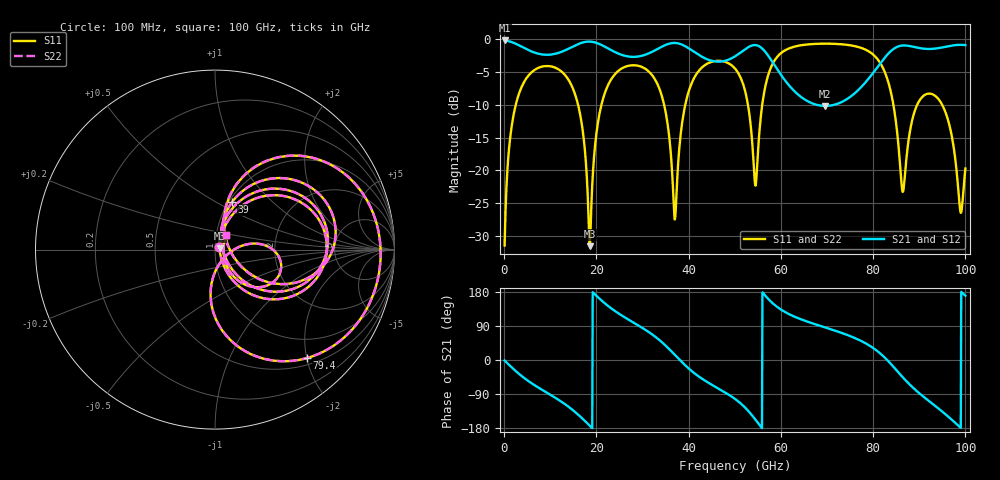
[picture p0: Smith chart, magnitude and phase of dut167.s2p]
! Touchstone file exported from HFSS 2026.1.0
!  File:  C:/ffzhzh/LocalFiles/Ansys_Project_Files/temp_train_TSV_RDL_167_1783649957_33328.aedt
!  Generated:  10:32:22 AM Jul 10, 2026
!  Design:  TSV_RDL
!  Project:  temp_train_TSV_RDL_167_1783649957_33328
! Variables:
!  h_bsmrdl = 3.04um
!  h_ox = 20um
!  h_rdl = 5um
!  h_sub = 53.69um
!  h_tmrdl = 2.54um
!  h_tsv = 53.69um
!  h_via = 3um
!  l_bsmrdl = 157.92um
!  l_sub = 3288.27um
!  l_tmrdl = 572.9um
!  m_sub = 200um
!  pitch = 54.47um
!  r_tsv = 9.67um
!  s_tmrdl = 10um
!  w_bsmrdl = 24.56um
!  w_sub = 500um
!  w_tmrdl = 16.41um
!  x_tsv_center1 = 581.105um
!  x_tsv_center2 = 763.585um
!  x_tsv_center3 = 1352.895um
!  x_tsv_center4 = 1535.375um
!  x_tsv_center5 = 2124.685um
!  x_tsv_center6 = 2307.165um
# GHz S MA R 50.000000
! Terminal data exported
! Port[1] = TM_RDL1_1_T1
! Port[2] = TM_RDL5_1_T1
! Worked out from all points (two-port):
!   1000 points, 100 MHz to 100 GHz, reference 50 ohm
!   highest |S21| = -0.20 dB at 100 MHz (marker M1); lowest = -10.2 dB at 69.6 GHz (marker M2)
!   |S21| within 3 dB of the highest: start of sweep to 44.52 GHz; 82.09 GHz to end of sweep (the widest 2 of 3)
!   lowest |S11| = -31.6 dB at 18.6 GHz (marker M3), VSWR 1.05, Z = 52.6 + j0.795 ohm
!   |S11| at or under -10 dB: 16.02 GHz to 21.1 GHz (5.078 GHz wide, 27.4 % of centre); 84.39 GHz to 89.56 GHz (5.172 GHz wide, 5.95 % of centre); 94.95 GHz to end of sweep (the widest 3 of 6)
!   |S22| runs from -31.6 to -0.7 dB; largest |S21 - S12| = 4.9e-14
!   S11 on the Smith chart (normalised r, x): 100 MHz: 1.05, +0.03; 39 GHz: 1.04, +0.60; 79.4 GHz: 0.62, -2.00; 100 GHz: 1.12, +0.18
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0.1  0.02673 31.6  0.9774 -1.3  0.9774 -1.3  0.02673 31.6
! Gamma 0 0 0 0
! Port Impedance 50 0 50 0
1.8  0.2365 62.2  0.9452 -21.3  0.9452 -21.3  0.2365 62.2
5.1  0.5189 33.2  0.8306 -54.2  0.8306 -54.2  0.5189 33.2
10.7  0.6128 -7.7  0.7686 -96.8  0.7686 -96.8  0.6128 -7.7
16.8  0.2291 -58.0  0.9378 -152.6  0.9378 -152.6  0.2291 -58.0
18.6  0.0264 16.6  0.9581 -173.9  0.9581 -173.9  0.02622 16.7
20.3  0.2268 68.6  0.9291 166.0  0.9291 166.0  0.2268 68.7
22.8  0.4663 46.7  0.8395 140.1  0.8395 140.1  0.4662 46.8
28.3  0.6324 6.3  0.7331 96.9  0.7331 96.9  0.6323 6.3
33.4  0.4407 -31.9  0.847 55.3  0.847 55.3  0.4407 -31.8
37  0.04215 9.9  0.9355 13.7  0.9355 13.7  0.04242 9.9
39  0.2833 70.1  0.8934 -11.0  0.8934 -11.0  0.2834 70.1
50.1  0.5937 -10.8  0.7413 -103.2  0.7413 -103.2  0.5937 -10.9
54.5  0.07639 21.7  0.9011 -157.7  0.9011 -157.7  0.07441 21.7
57.9  0.6147 56.3  0.6919 153.3  0.6919 153.3  0.6145 56.4
66.7  0.9168 5.9  0.3249 97.3  0.3249 97.3  0.9168 6.0
69.6  0.9238 -4.6  0.3097 85.9  0.3097 85.9  0.9238 -4.5
79.4  0.7922 -49.7  0.5198 36.5  0.5198 36.5  0.7921 -49.7
83.4  0.4549 -84.7  0.7833 -4.5  0.7833 -4.5  0.4549 -84.6
86.4  0.06843 -45.5  0.8949 -45.4  0.8949 -45.4  0.06854 -45.4
90.3  0.3506 -4.8  0.8522 -90.7  0.8522 -90.7  0.3505 -4.8
100  0.1033 51.9  0.9006 169.7  0.9006 169.7  0.1036 51.9
